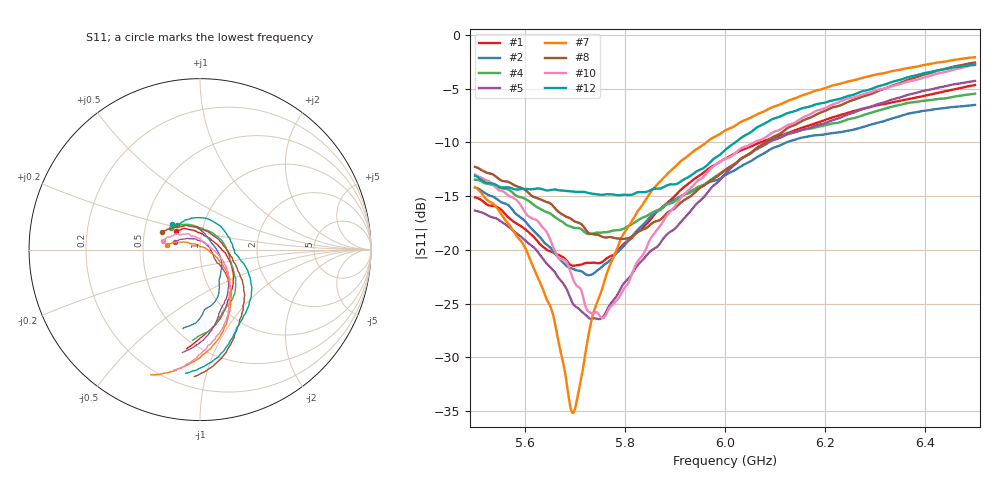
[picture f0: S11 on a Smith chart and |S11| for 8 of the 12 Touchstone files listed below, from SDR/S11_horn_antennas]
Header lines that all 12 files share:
#  HZ  S  DB  R  50.00
! Rohde & Schwarz ZVA24 4Ports - Version 3.60 - 1145.1110k28 SN: 101513
! Measurement: S33
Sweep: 5.5 GHz to 6.5 GHz
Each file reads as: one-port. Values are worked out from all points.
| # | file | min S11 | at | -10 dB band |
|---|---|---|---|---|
| 1 | #0001.s1p | -21.5 dB | 5.696 GHz | over 571.1 MHz wide |
| 2 | #0002.s1p | -22.4 dB | 5.728 GHz | over 622.6 MHz wide |
| 3 | #0003.s1p | -28.3 dB | 5.696 GHz | over 545.2 MHz wide |
| 4 | #0004.s1p | -18.5 dB | 5.728 GHz | over 587.6 MHz wide |
| 5 | #0005.s1p | -26.4 dB | 5.747 GHz | over 586.2 MHz wide |
| 6 | #0006.s1p | -22.5 dB | 5.785 GHz | over 589.3 MHz wide |
| 7 | #0007.s1p | -35.2 dB | 5.695 GHz | over 462.8 MHz wide |
| 8 | #0008.s1p | -19.0 dB | 5.796 GHz | over 581.3 MHz wide |
| 9 | #0009.s1p | -26.8 dB | 5.747 GHz | over 514.3 MHz wide |
| 10 | #0010.s1p | -26.3 dB | 5.756 GHz | over 557.9 MHz wide |
| 11 | #0011.s1p | -23.1 dB | 5.734 GHz | over 528.9 MHz wide |
| 12 | #0012.s1p | -14.9 dB | 5.787 GHz | over 520.9 MHz wide |
